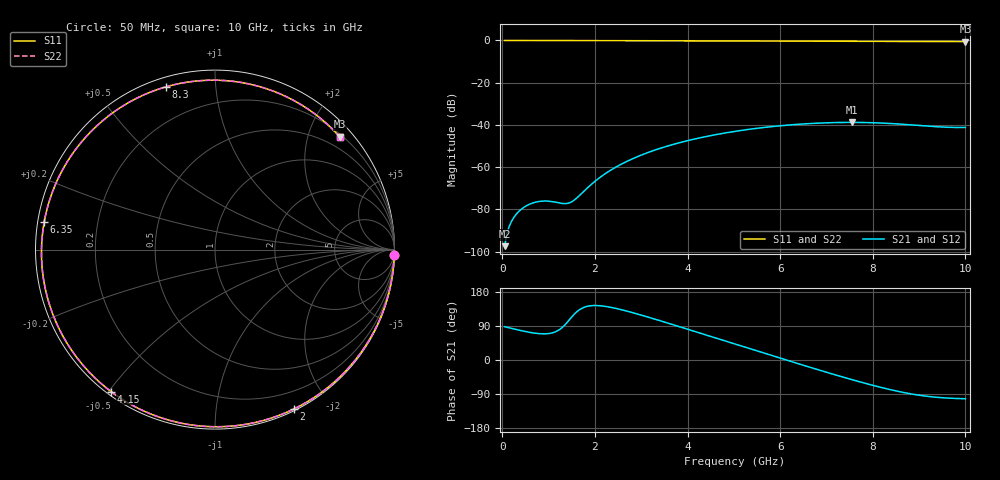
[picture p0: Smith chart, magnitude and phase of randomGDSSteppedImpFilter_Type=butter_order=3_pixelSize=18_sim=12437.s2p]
! freq	dB(S11)	phase(S11)	dB(S12)	phase(S12)
!  dB(S21)	phase(S21)	dB(S22)	phase(S22)
!S-par simulation data
#  GHz  S  DB  R 50
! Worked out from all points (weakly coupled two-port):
!   200 points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, 50 MHz to 10 GHz, reference 50 ohm
!   highest |S21| = -38.82 dB at 7.55 GHz (marker M1); lowest = -97.4 dB at 50 MHz (marker M2)
!   lowest |S11| = -0.6 dB at 10 GHz (marker M3), VSWR 30.60, Z = 12.5 + j129 ohm
!   |S11| at or under -10 dB: nowhere
!   |S22| runs from -0.6 to 0.0 dB; largest |S21 - S12| = 0
!   S11 on the Smith chart (normalised r, x): 50 MHz: 1, -69; 2 GHz: 0.02, -1.61; 4.15 GHz: 0.01, -0.51; 6.35 GHz: 0.02, +0.08; 8.3 GHz: 0.04, +0.74; 10 GHz: 0.25, +2.57
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0.05  -0.00 -1.7  -97.45 87.9  -97.45 87.9  -0.00 -1.7
0.4  -0.02 -13.1  -80.13 77.7  -80.13 77.7  -0.02 -13.1
0.6  -0.02 -19.6  -77.47 72.8  -77.47 72.8  -0.02 -19.6
0.85  -0.03 -27.7  -76.14 69.2  -76.14 69.2  -0.03 -27.7
1.4  -0.06 -45.1  -77.21 99.0  -77.21 99.0  -0.06 -45.1
1.55  -0.06 -49.8  -75.67 120.4  -75.67 120.4  -0.06 -49.8
1.75  -0.07 -56.0  -71.69 138.2  -71.69 138.2  -0.07 -56.0
2  -0.08 -63.7  -66.75 143.8  -66.75 143.8  -0.08 -63.7
2.6  -0.10 -81.7  -58.26 131.8  -58.26 131.8  -0.10 -81.8
3.4  -0.14 -105.0  -51.16 103.9  -51.16 103.9  -0.14 -105.0
4.15  -0.17 -126.2  -46.70 75.5  -46.70 75.5  -0.17 -126.2
5.05  -0.22 -151.5  -42.98 41.1  -42.98 41.1  -0.22 -151.5
5.7  -0.27 -170.0  -41.09 16.3  -41.09 16.3  -0.27 -170.0
6.35  -0.32 170.9  -39.78 -8.3  -39.78 -8.3  -0.32 170.9
6.7  -0.35 160.2  -39.30 -21.3  -39.30 -21.3  -0.35 160.2
7.55  -0.42 132.9  -38.82 -51.9  -38.82 -51.9  -0.42 132.9
8.3  -0.47 106.8  -39.25 -76.0  -39.25 -76.0  -0.47 106.8
8.35  -0.48 105.0  -39.30 -77.4  -39.30 -77.4  -0.48 105.0
8.75  -0.50 90.3  -39.86 -87.7  -39.86 -87.7  -0.50 90.3
9.15  -0.52 75.1  -40.52 -95.4  -40.52 -95.4  -0.52 75.1
9.55  -0.54 59.7  -41.07 -100.0  -41.07 -100.0  -0.54 59.7
10  -0.57 42.1  -41.19 -102.3  -41.19 -102.3  -0.57 42.2
